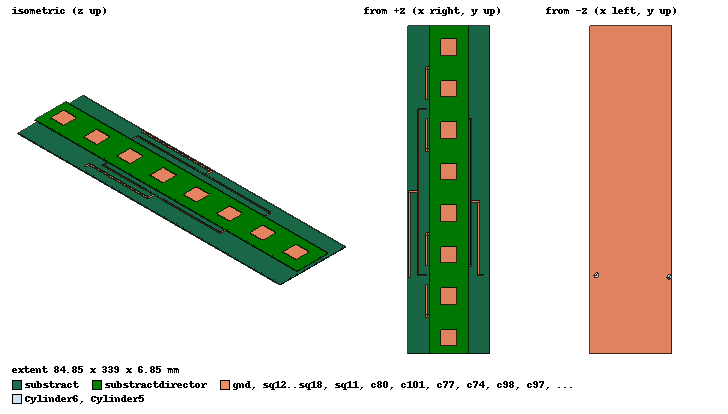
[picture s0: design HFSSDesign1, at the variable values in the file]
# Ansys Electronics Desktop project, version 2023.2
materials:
  vacuum: permittivity=1
  copper: permeability=0.999991 conductivity=58000000
  Isola FR408: permittivity=3.66 dielectric_loss_tangent=0.012

design HFSSDesign1 (HFSS, HFSS Terminal Network, model units mm)
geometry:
  gnd [copper] = box(corner=(0mm, 0mm, 0mm), size=(84.5mm, 339mm, 0.05mm))
  substract [Isola FR408] = box(corner=(0mm, 0mm, 0.05mm), size=(84.5mm, 339mm, 0.6mm))
  sq1 [copper] = box(corner=(33.3mm, 8.1mm, 0.65mm), size=(17.1mm, 17.1mm, 0.05mm))
  sq2 [copper] = box(corner=(33.3mm, 51mm, 0.65mm), size=(17.1mm, 17.1mm, 0.05mm))
  sq4 [copper] = box(corner=(33.3mm, 93.9mm, 0.65mm), size=(17.1mm, 17.1mm, 0.05mm))
  c1 [copper] = box(corner=(27.7mm, 15.9mm, 0.65mm), size=(5.6mm, 1.5mm, 0.05mm))
  c2 [copper] = box(corner=(27.7mm, 58.8mm, 0.65mm), size=(5.6mm, 1.5mm, 0.05mm))
  c3 [copper] = box(corner=(27.7mm, 15.9mm, 0.65mm), size=(1.5mm, 6.1mm, 0.05mm))
  c4 [copper] = box(corner=(27.7mm, 54.2mm, 0.65mm), size=(1.5mm, 6.1mm, 0.05mm))
  c5 [copper] = box(corner=(28.15mm, 22mm, 0.65mm), size=(0.6mm, 32.2mm, 0.05mm))
  c6 [copper] = box(corner=(18.65mm, 37.35mm, 0.65mm), size=(9.5mm, 1.5mm, 0.05mm))
  sq6 [copper] = box(corner=(33.3mm, 51mm, 0.65mm), size=(17.1mm, 17.1mm, 0.05mm))
  c7 [copper] = box(corner=(27.7mm, 15.9mm, 0.65mm), size=(5.6mm, 1.5mm, 0.05mm))
  c8 [copper] = box(corner=(27.7mm, 58.8mm, 0.65mm), size=(5.6mm, 1.5mm, 0.05mm))
  c9 [copper] = box(corner=(27.7mm, 15.9mm, 0.65mm), size=(1.5mm, 6.1mm, 0.05mm))
  c10 [copper] = box(corner=(27.7mm, 54.2mm, 0.65mm), size=(1.5mm, 6.1mm, 0.05mm))
  c11 [copper] = box(corner=(28.15mm, 22mm, 0.65mm), size=(0.6mm, 32.2mm, 0.05mm))
  [sq6, c7..c11].move(0mm, 85.8mm, 0mm)
  sq7 [copper] = box(corner=(33.3mm, 93.9mm, 0.65mm), size=(17.1mm, 17.1mm, 0.05mm))
  sq8 [copper] = box(corner=(33.3mm, 51mm, 0.65mm), size=(17.1mm, 17.1mm, 0.05mm))
  sq8.move(0mm, 85.8mm, 0mm)
  c13 [copper] = box(corner=(27.7mm, 15.9mm, 0.65mm), size=(5.6mm, 1.5mm, 0.05mm))
  c13.move(0mm, 85.8mm, 0mm)
  c14 [copper] = box(corner=(27.7mm, 58.8mm, 0.65mm), size=(5.6mm, 1.5mm, 0.05mm))
  c14.move(0mm, 85.8mm, 0mm)
  c15 [copper] = box(corner=(27.7mm, 15.9mm, 0.65mm), size=(1.5mm, 6.1mm, 0.05mm))
  c15.move(0mm, 85.8mm, 0mm)
  c16 [copper] = box(corner=(27.7mm, 54.2mm, 0.65mm), size=(1.5mm, 6.1mm, 0.05mm))
  c16.move(0mm, 85.8mm, 0mm)
  c17 [copper] = box(corner=(28.15mm, 22mm, 0.65mm), size=(0.6mm, 32.2mm, 0.05mm))
  c17.move(0mm, 85.8mm, 0mm)
  [sq7, sq8, c13..c17].move(0mm, 85.8mm, 0mm)
  sq9 [copper] = box(corner=(33.3mm, 93.9mm, 0.65mm), size=(17.1mm, 17.1mm, 0.05mm))
  sq9.move(0mm, 85.8mm, 0mm)
  sq10 [copper] = box(corner=(33.3mm, 51mm, 0.65mm), size=(17.1mm, 17.1mm, 0.05mm))
  sq10.move(0mm, 85.8mm, 0mm)
  sq10.move(0mm, 85.8mm, 0mm)
  c19 [copper] = box(corner=(27.7mm, 15.9mm, 0.65mm), size=(5.6mm, 1.5mm, 0.05mm))
  c19.move(0mm, 85.8mm, 0mm)
  c19.move(0mm, 85.8mm, 0mm)
  c20 [copper] = box(corner=(27.7mm, 58.8mm, 0.65mm), size=(5.6mm, 1.5mm, 0.05mm))
  c20.move(0mm, 85.8mm, 0mm)
  c20.move(0mm, 85.8mm, 0mm)
  c21 [copper] = box(corner=(27.7mm, 15.9mm, 0.65mm), size=(1.5mm, 6.1mm, 0.05mm))
  c21.move(0mm, 85.8mm, 0mm)
  c21.move(0mm, 85.8mm, 0mm)
  c22 [copper] = box(corner=(27.7mm, 54.2mm, 0.65mm), size=(1.5mm, 6.1mm, 0.05mm))
  c22.move(0mm, 85.8mm, 0mm)
  c22.move(0mm, 85.8mm, 0mm)
  c23 [copper] = box(corner=(28.15mm, 22mm, 0.65mm), size=(0.6mm, 32.2mm, 0.05mm))
  c23.move(0mm, 85.8mm, 0mm)
  c23.move(0mm, 85.8mm, 0mm)
  [sq9, sq10, c19..c23].move(0mm, 85.8mm, 0mm)
  c25 [copper] = box(corner=(41.1mm, 25.2mm, 0.65mm), size=(1.5mm, 5.9mm, 0.05mm))
  c26 [copper] = box(corner=(41.1mm, 45.1mm, 0.65mm), size=(1.5mm, 5.9mm, 0.05mm))
  c27 [copper] = box(corner=(41.1mm, 29.6mm, 0.65mm), size=(5.9mm, 1.5mm, 0.05mm))
  c28 [copper] = box(corner=(41.1mm, 45.1mm, 0.65mm), size=(5.9mm, 1.5mm, 0.05mm))
  c29 [copper] = box(corner=(47mm, 30.05mm, 0.65mm), size=(5.9mm, 0.6mm, 0.05mm))
  c30 [copper] = box(corner=(52.3mm, 30.05mm, 0.65mm), size=(0.6mm, 7.1mm, 0.05mm))
  c31 [copper] = box(corner=(49mm, 36.55mm, 0.65mm), size=(3.9mm, 0.6mm, 0.05mm))
  c32 [copper] = box(corner=(49mm, 36.55mm, 0.65mm), size=(0.6mm, 9.6mm, 0.05mm))
  c33 [copper] = box(corner=(47mm, 45.55mm, 0.65mm), size=(2.6mm, 0.6mm, 0.05mm))
  c34 [copper] = box(corner=(49.6mm, 45.1mm, 0.65mm), size=(7.4mm, 1.5mm, 0.05mm))
  c35 [copper] = box(corner=(41.1mm, 25.2mm, 0.65mm), size=(1.5mm, 5.9mm, 0.05mm))
  c36 [copper] = box(corner=(41.1mm, 45.1mm, 0.65mm), size=(1.5mm, 5.9mm, 0.05mm))
  c37 [copper] = box(corner=(41.1mm, 29.6mm, 0.65mm), size=(5.9mm, 1.5mm, 0.05mm))
  c38 [copper] = box(corner=(41.1mm, 45.1mm, 0.65mm), size=(5.9mm, 1.5mm, 0.05mm))
  c39 [copper] = box(corner=(47mm, 30.05mm, 0.65mm), size=(5.9mm, 0.6mm, 0.05mm))
  c40 [copper] = box(corner=(52.3mm, 30.05mm, 0.65mm), size=(0.6mm, 7.1mm, 0.05mm))
  c41 [copper] = box(corner=(49mm, 36.55mm, 0.65mm), size=(3.9mm, 0.6mm, 0.05mm))
  c42 [copper] = box(corner=(49mm, 36.55mm, 0.65mm), size=(0.6mm, 9.6mm, 0.05mm))
  c43 [copper] = box(corner=(47mm, 45.55mm, 0.65mm), size=(2.6mm, 0.6mm, 0.05mm))
  [c35..c43].move(0mm, 171.6mm, 0mm)
  c45 [copper] = box(corner=(41.1mm, 25.2mm, 0.65mm), size=(1.5mm, 5.9mm, 0.05mm))
  c46 [copper] = box(corner=(41.1mm, 45.1mm, 0.65mm), size=(1.5mm, 5.9mm, 0.05mm))
  c47 [copper] = box(corner=(41.1mm, 29.6mm, 0.65mm), size=(5.9mm, 1.5mm, 0.05mm))
  c48 [copper] = box(corner=(41.1mm, 45.1mm, 0.65mm), size=(5.9mm, 1.5mm, 0.05mm))
  c49 [copper] = box(corner=(47mm, 30.05mm, 0.65mm), size=(5.9mm, 0.6mm, 0.05mm))
  c50 [copper] = box(corner=(52.3mm, 30.05mm, 0.65mm), size=(0.6mm, 7.1mm, 0.05mm))
  c51 [copper] = box(corner=(49mm, 36.55mm, 0.65mm), size=(3.9mm, 0.6mm, 0.05mm))
  c52 [copper] = box(corner=(49mm, 36.55mm, 0.65mm), size=(0.6mm, 9.6mm, 0.05mm))
  c53 [copper] = box(corner=(47mm, 45.55mm, 0.65mm), size=(2.6mm, 0.6mm, 0.05mm))
  c54 [copper] = box(corner=(49.6mm, 45.1mm, 0.65mm), size=(7.4mm, 1.5mm, 0.05mm))
  [c45..c54].mirror(point=(41.1mm, 81mm, 0mm), normal=(0mm, 1mm, 0mm))
  c55 [copper] = box(corner=(41.1mm, 25.2mm, 0.65mm), size=(1.5mm, 5.9mm, 0.05mm))
  c55.move(0mm, 171.6mm, 0mm)
  c56 [copper] = box(corner=(41.1mm, 45.1mm, 0.65mm), size=(1.5mm, 5.9mm, 0.05mm))
  c56.move(0mm, 171.6mm, 0mm)
  c57 [copper] = box(corner=(41.1mm, 29.6mm, 0.65mm), size=(5.9mm, 1.5mm, 0.05mm))
  c57.move(0mm, 171.6mm, 0mm)
  c58 [copper] = box(corner=(41.1mm, 45.1mm, 0.65mm), size=(5.9mm, 1.5mm, 0.05mm))
  c58.move(0mm, 171.6mm, 0mm)
  c59 [copper] = box(corner=(47mm, 30.05mm, 0.65mm), size=(5.9mm, 0.6mm, 0.05mm))
  c59.move(0mm, 171.6mm, 0mm)
  c60 [copper] = box(corner=(52.3mm, 30.05mm, 0.65mm), size=(0.6mm, 7.1mm, 0.05mm))
  c60.move(0mm, 171.6mm, 0mm)
  c61 [copper] = box(corner=(49mm, 36.55mm, 0.65mm), size=(3.9mm, 0.6mm, 0.05mm))
  c61.move(0mm, 171.6mm, 0mm)
  c62 [copper] = box(corner=(49mm, 36.55mm, 0.65mm), size=(0.6mm, 9.6mm, 0.05mm))
  c62.move(0mm, 171.6mm, 0mm)
  c63 [copper] = box(corner=(47mm, 45.55mm, 0.65mm), size=(2.6mm, 0.6mm, 0.05mm))
  c63.move(0mm, 171.6mm, 0mm)
  [c55..c63].mirror(point=(41.1mm, 252.6mm, 0mm), normal=(0mm, 1mm, 0mm))
  c65 [copper] = box(corner=(18.65mm, 37.35mm, 0.65mm), size=(1.5mm, 3mm, 0.05mm))
  c66 [copper] = box(corner=(18.8mm, 40.35mm, 0.65mm), size=(1.2mm, 30.9mm, 0.05mm))
  c67 [copper] = box(corner=(19.1mm, 71.25mm, 0.65mm), size=(0.6mm, 19.5mm, 0.05mm))
  c6_1 [copper] = c6.duplicate_mirror(point=(0mm, 81mm, 0mm), normal=(0mm, 1mm, 0mm))
  c66_1 [copper] = c66.duplicate_mirror(point=(0mm, 81mm, 0mm), normal=(0mm, 1mm, 0mm))
  c65_1 [copper] = c65.duplicate_mirror(point=(0mm, 81mm, 0mm), normal=(0mm, 1mm, 0mm))
  c68 [copper] = box(corner=(18.65mm, 37.35mm, 0.65mm), size=(9.5mm, 1.5mm, 0.05mm))
  c6_2 [copper] = c68.duplicate_mirror(point=(0mm, 81mm, 0mm), normal=(0mm, 1mm, 0mm))
  c69 [copper] = box(corner=(18.65mm, 37.35mm, 0.65mm), size=(1.5mm, 3mm, 0.05mm))
  c65_2 [copper] = c69.duplicate_mirror(point=(0mm, 81mm, 0mm), normal=(0mm, 1mm, 0mm))
  c70 [copper] = box(corner=(18.8mm, 40.35mm, 0.65mm), size=(1.2mm, 30.9mm, 0.05mm))
  c66_2 [copper] = c70.duplicate_mirror(point=(0mm, 81mm, 0mm), normal=(0mm, 1mm, 0mm))
  c71 [copper] = box(corner=(19.1mm, 71.25mm, 0.65mm), size=(0.6mm, 19.5mm, 0.05mm))
  [c68..c71, c6_2, c66_2, c65_2].mirror(point=(0mm, 166.8mm, 0mm), normal=(0mm, 1mm, 0mm))
  c72 [copper] = box(corner=(9.6mm, 80.25mm, 0.65mm), size=(9.5mm, 1.5mm, 0.05mm))
  c73 [copper] = box(corner=(9.6mm, 80.25mm, 0.65mm), size=(1.5mm, 3mm, 0.05mm))
  c74 [copper] = box(corner=(9.75mm, 83.25mm, 0.65mm), size=(1.2mm, 73mm, 0.05mm))
  c75 [copper] = box(corner=(9.6mm, 80.25mm, 0.65mm), size=(9.5mm, 1.5mm, 0.05mm))
  c76 [copper] = box(corner=(9.6mm, 80.25mm, 0.65mm), size=(1.5mm, 3mm, 0.05mm))
  c77 [copper] = box(corner=(9.75mm, 83.25mm, 0.65mm), size=(1.2mm, 73mm, 0.05mm))
  [c75, c76, c77].mirror(point=(0mm, 166.8mm, 0mm), normal=(0mm, 1mm, 0mm))
  c78 [copper] = box(corner=(10.05mm, 156.25mm, 0.65mm), size=(0.6mm, 21.1mm, 0.05mm))
  c79 [copper] = box(corner=(1.05mm, 166.8mm, 0.65mm), size=(9mm, 2mm, 0.05mm))
  c80 [copper] = box(corner=(1.05mm, 78.3mm, 0.65mm), size=(2mm, 88.5mm, 0.05mm))
  c81 [copper] = box(corner=(55.5mm, 45.1mm, 0.65mm), size=(1.5mm, 4.5mm, 0.05mm))
  c82 [copper] = box(corner=(55.5mm, 45.1mm, 0.65mm), size=(1.5mm, 4.5mm, 0.05mm))
  c82.mirror(point=(41.1mm, 81mm, 0mm), normal=(0mm, 1mm, 0mm))
  c83 [copper] = box(corner=(55.65mm, 49.6mm, 0.65mm), size=(1.2mm, 11.5mm, 0.05mm))
  c83.mirror(point=(41.1mm, 81mm, 0mm), normal=(0mm, 1mm, 0mm))
  c84 [copper] = box(corner=(55.65mm, 49.6mm, 0.65mm), size=(1.2mm, 31.6mm, 0.05mm))
  c85 [copper] = box(corner=(55.95mm, 81.2mm, 0.65mm), size=(0.6mm, 19.7mm, 0.05mm))
  c86 [copper] = box(corner=(49.6mm, 45.1mm, 0.65mm), size=(7.4mm, 1.5mm, 0.05mm))
  c87 [copper] = box(corner=(49.6mm, 45.1mm, 0.65mm), size=(7.4mm, 1.5mm, 0.05mm))
  c87.mirror(point=(41.1mm, 81mm, 0mm), normal=(0mm, 1mm, 0mm))
  c88 [copper] = box(corner=(55.5mm, 45.1mm, 0.65mm), size=(1.5mm, 4.5mm, 0.05mm))
  c89 [copper] = box(corner=(55.5mm, 45.1mm, 0.65mm), size=(1.5mm, 4.5mm, 0.05mm))
  c89.mirror(point=(41.1mm, 81mm, 0mm), normal=(0mm, 1mm, 0mm))
  c90 [copper] = box(corner=(55.65mm, 49.6mm, 0.65mm), size=(1.2mm, 11.5mm, 0.05mm))
  c90.mirror(point=(41.1mm, 81mm, 0mm), normal=(0mm, 1mm, 0mm))
  c91 [copper] = box(corner=(55.65mm, 49.6mm, 0.65mm), size=(1.2mm, 31.6mm, 0.05mm))
  c92 [copper] = box(corner=(55.95mm, 81.2mm, 0.65mm), size=(0.6mm, 19.7mm, 0.05mm))
  [c86..c92].mirror(point=(0mm, 166.8mm, 0mm), normal=(0mm, 1mm, 0mm))
  c93 [copper] = box(corner=(56.55mm, 90.3mm, 0.65mm), size=(9.5mm, 1.5mm, 0.05mm))
  c94 [copper] = box(corner=(64.55mm, 90.3mm, 0.65mm), size=(1.5mm, 3mm, 0.05mm))
  c95 [copper] = box(corner=(56.55mm, 90.3mm, 0.65mm), size=(9.5mm, 1.5mm, 0.05mm))
  c96 [copper] = box(corner=(64.55mm, 90.3mm, 0.65mm), size=(1.5mm, 3mm, 0.05mm))
  [c95, c96].mirror(point=(0mm, 166.8mm, 0mm), normal=(0mm, 1mm, 0mm))
  c97 [copper] = box(corner=(64.7mm, 93.3mm, 0.65mm), size=(1.2mm, 52.3mm, 0.05mm))
  c98 [copper] = box(corner=(64.7mm, 93.3mm, 0.65mm), size=(1.2mm, 71.6mm, 0.05mm))
  c98.mirror(point=(0mm, 166.8mm, 0mm), normal=(0mm, 1mm, 0mm))
  c99 [copper] = box(corner=(65mm, 145.6mm, 0.65mm), size=(0.6mm, 23.1mm, 0.05mm))
  c100 [copper] = box(corner=(65.6mm, 156.15mm, 0.65mm), size=(8.5mm, 2mm, 0.05mm))
  c101 [copper] = box(corner=(72.1mm, 80.1mm, 0.65mm), size=(2mm, 78.05mm, 0.05mm))
  c102 [copper] = box(corner=(72.1mm, 80.1mm, 0.65mm), size=(6mm, 2mm, 0.05mm))
  substractdirector [Isola FR408] = box(corner=(22.5mm, 0mm, 4.2mm), size=(40mm, 339mm, 0.6mm))
  sq11 [copper] = box(corner=(33.3mm, 8.1mm, 0.65mm), size=(17.1mm, 17.1mm, 0.05mm))
  sq12 [copper] = box(corner=(33.3mm, 51mm, 0.65mm), size=(17.1mm, 17.1mm, 0.05mm))
  sq13 [copper] = box(corner=(33.3mm, 93.9mm, 0.65mm), size=(17.1mm, 17.1mm, 0.05mm))
  sq14 [copper] = box(corner=(33.3mm, 51mm, 0.65mm), size=(17.1mm, 17.1mm, 0.05mm))
  sq14.move(0mm, 85.8mm, 0mm)
  sq15 [copper] = box(corner=(33.3mm, 93.9mm, 0.65mm), size=(17.1mm, 17.1mm, 0.05mm))
  sq15.move(0mm, 85.8mm, 0mm)
  sq16 [copper] = box(corner=(33.3mm, 51mm, 0.65mm), size=(17.1mm, 17.1mm, 0.05mm))
  sq16.move(0mm, 85.8mm, 0mm)
  sq16.move(0mm, 85.8mm, 0mm)
  sq17 [copper] = box(corner=(33.3mm, 93.9mm, 0.65mm), size=(17.1mm, 17.1mm, 0.05mm))
  sq17.move(0mm, 85.8mm, 0mm)
  sq17.move(0mm, 85.8mm, 0mm)
  sq18 [copper] = box(corner=(33.3mm, 51mm, 0.65mm), size=(17.1mm, 17.1mm, 0.05mm))
  sq18.move(0mm, 85.8mm, 0mm)
  sq18.move(0mm, 85.8mm, 0mm)
  sq18.move(0mm, 85.8mm, 0mm)
  [sq11..sq18].move(0mm, 0mm, 4.1mm)
  [sq11..sq18].move(0mm, 0mm, 0.05mm)
  Cylinder1 = cylinder(axis=Z, base_centre=(77.5mm, 81.1mm, 0.65mm), radius=0.6mm, height=-10mm)
  Cylinder2 = cylinder(axis=Z, base_centre=(2.05mm, 79.3mm, 0.65mm), radius=0.6mm, height=-10mm)
  Cylinder1_1 = Cylinder1.copy()
  gnd.subtract(Cylinder1_1)
  substract.subtract(Cylinder1)
  Cylinder2_1 = Cylinder2.copy()
  gnd.subtract(Cylinder2_1)
  substract.subtract(Cylinder2)
  Cylinder3 [copper] = cylinder(axis=Z, base_centre=(77.5mm, 81.1mm, 0.65mm), radius=0.5mm, height=-2.65mm)
  Cylinder4 [copper] = cylinder(axis=Z, base_centre=(2.05mm, 79.3mm, 0.65mm), radius=0.5mm, height=-2.65mm)
  Cylinder5 [vacuum] = cylinder(axis=Z, base_centre=(77.5mm, 81.1mm, 0mm), radius=2.4mm, height=-2mm)
  Cylinder6 [vacuum] = cylinder(axis=Z, base_centre=(2.05mm, 79.3mm, 0mm), radius=2.4mm, height=-2mm)
